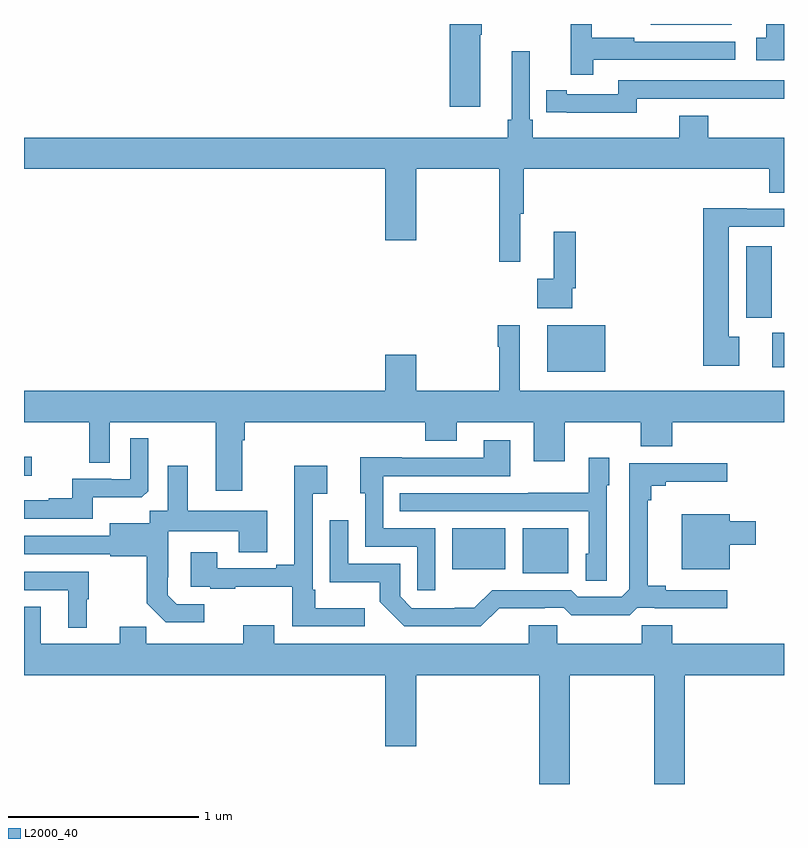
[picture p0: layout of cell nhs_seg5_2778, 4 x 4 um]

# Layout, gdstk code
import gdstk
lib = gdstk.Library(unit=1e-6, precision=1e-09)
def R(c, l, rs):  # rectangles x0, y0, x1, y1
    for r in rs: c.add(gdstk.rectangle(r[:2], r[2:], *l))
def P(c, l, *ps):  # polygons
    for p in ps: c.add(gdstk.Polygon(p, *l))
L2000_40 = (2000, 40)

nhs_seg5_2778 = lib.new_cell('nhs_seg5_2778')
R(nhs_seg5_2778, L2000_40, [(273.626,911.909,273.865,912.145), (273.254,911.93,273.532,912.145), (271,912.422,271.042,912.521), (273.755,912.968,274.06,913.213), (274.937,912.993,275,913.173), (274.802,913.254,274.936,913.63), (274.299,914.795,274.726,914.799)])
P(nhs_seg5_2778, L2000_40, [(273.4,914.743),(273.408,914.743),(273.408,914.799),(273.242,914.799),(273.242,914.364),(273.4,914.364)],
  [(273.995,914.61),(274.744,914.61),(274.744,914.706),(274.211,914.706),(274.211,914.726),(273.988,914.726),(273.988,914.799),(273.878,914.799),(273.878,914.532),(273.995,914.532)],
  [(275,914.799),(274.907,914.799),(274.907,914.727),(274.854,914.727),(274.854,914.607),(275,914.607)],
  [(273.611,913.8),(273.629,913.8),(273.629,914.036),(274.922,914.036),(274.922,913.912),(275,913.912),(275,914.2),(274.601,914.2),(274.601,914.317),(274.448,914.317),(274.448,914.2),(273.677,914.2),(273.677,914.296),(273.663,914.296),(273.663,914.656),(273.566,914.656),(273.566,914.296),(273.547,914.296),(273.547,914.2),(271,914.2),(271,914.036),(272.9,914.036),(272.9,913.662),(273.064,913.662),(273.064,914.036),(273.501,914.036),(273.501,913.548),(273.611,913.548)],
  [(274.224,914.406),(274.684,914.406),(274.684,914.405),(275,914.405),(275,914.502),(274.128,914.502),(274.128,914.43),(273.856,914.43),(273.856,914.45),(273.748,914.45),(273.748,914.334),(273.856,914.334),(273.856,914.333),(274.224,914.333)],
  [(274.765,913.154),(274.708,913.154),(274.708,913.731),(275,913.731),(275,913.827),(274.804,913.827),(274.804,913.829),(274.574,913.829),(274.574,913.001),(274.765,913.001)],
  [(273.885,913.408),(273.905,913.408),(273.905,913.705),(273.788,913.705),(273.788,913.457),(273.702,913.457),(273.702,913.304),(273.885,913.304)],
  [(272.149,912.608),(272.162,912.608),(272.162,912.704),(273.113,912.704),(273.113,912.605),(273.277,912.605),(273.277,912.704),(273.683,912.704),(273.683,912.498),(273.847,912.498),(273.847,912.704),(274.247,912.704),(274.247,912.576),(274.411,912.576),(274.411,912.704),(275,912.704),(275,912.868),(273.61,912.868),(273.61,913.213),(273.493,913.213),(273.493,913.1),(273.501,913.1),(273.501,912.868),(273.064,912.868),(273.064,913.057),(272.9,913.057),(272.9,912.868),(271,912.868),(271,912.704),(271.344,912.704),(271.344,912.49),(271.452,912.49),(271.452,912.704),(272.009,912.704),(272.009,912.342),(272.149,912.342)],
  [(271.363,912.308),(271.621,912.308),(271.653,912.339),(271.653,912.619),(271.56,912.619),(271.56,912.402),(271.46,912.402),(271.46,912.405),(271.253,912.405),(271.253,912.304),(271.129,912.304),(271.129,912.292),(271,912.292),(271,912.195),(271.363,912.195)],
  [(273.165,912.144),(272.892,912.144),(272.892,912.42),(273.559,912.42),(273.559,912.607),(273.419,912.607),(273.419,912.516),(272.989,912.516),(272.989,912.518),(272.771,912.518),(272.771,912.33),(272.796,912.33),(272.796,912.048),(273.069,912.048),(273.069,911.82),(273.165,911.82)],
  [(274.068,912.372),(274.081,912.372),(274.081,912.517),(273.972,912.517),(273.972,912.331),(273.655,912.331),(273.655,912.33),(272.977,912.33),(272.977,912.234),(273.972,912.234),(273.972,912.012),(273.956,912.012),(273.956,911.869),(274.068,911.869)],
  [(273.5,911.723),(273.74,911.723),(273.74,911.727),(273.84,911.727),(273.88,911.688),(274.187,911.688),(274.227,911.727),(274.321,911.727),(274.321,911.723),(274.702,911.723),(274.702,911.82),(274.378,911.82),(274.378,911.843),(274.283,911.843),(274.283,912.293),(274.301,912.293),(274.301,912.37),(274.378,912.37),(274.378,912.389),(274.702,912.389),(274.702,912.486),(274.185,912.486),(274.185,911.823),(274.146,911.784),(273.915,911.784),(273.879,911.82),(273.465,911.82),(273.371,911.726),(273.266,911.726),(273.266,911.724),(273.042,911.724),(272.979,911.787),(272.979,911.958),(272.706,911.958),(272.706,912.187),(272.61,912.187),(272.61,911.861),(272.872,911.861),(272.872,911.759),(273.002,911.628),(273.405,911.628)],
  [(272.794,911.725),(272.533,911.725),(272.533,911.821),(272.52,911.821),(272.52,912.326),(272.596,912.326),(272.596,912.475),(272.423,912.475),(272.423,911.953),(272.327,911.953),(272.327,911.934),(272.017,911.934),(272.017,912.019),(271.877,912.019),(271.877,911.838),(271.981,911.838),(271.981,911.826),(272.113,911.826),(272.113,911.837),(272.412,911.837),(272.412,911.628),(272.794,911.628)],
  [(271.948,911.745),(271.803,911.745),(271.756,911.792),(271.756,911.887),(271.758,911.887),(271.758,912.128),(272.129,912.128),(272.129,912.019),(272.281,912.019),(272.281,912.238),(271.861,912.238),(271.861,912.475),(271.757,912.475),(271.757,912.236),(271.662,912.236),(271.662,912.172),(271.451,912.172),(271.451,912.105),(271,912.105),(271,912.009),(271.455,912.009),(271.455,911.997),(271.647,911.997),(271.647,911.751),(271.747,911.651),(271.948,911.651)],
  [(274.714,912.059),(274.852,912.059),(274.852,912.181),(274.714,912.181),(274.714,912.22),(274.463,912.22),(274.463,911.93),(274.714,911.93)],
  [(271.33,911.772),(271.342,911.772),(271.342,911.916),(271,911.916),(271,911.82),(271.232,911.82),(271.232,911.621),(271.33,911.621)],
  [(273.873,911.372),(274.318,911.372),(274.318,910.799),(274.478,910.799),(274.478,911.372),(275,911.372),(275,911.536),(274.412,911.536),(274.412,911.634),(274.252,911.634),(274.252,911.536),(273.807,911.536),(273.807,911.634),(273.656,911.634),(273.656,911.536),(272.317,911.536),(272.317,911.635),(272.153,911.635),(272.153,911.536),(271.643,911.536),(271.643,911.627),(271.505,911.627),(271.505,911.536),(271.087,911.536),(271.087,911.731),(271,911.731),(271,911.372),(272.9,911.372),(272.9,910.998),(273.064,910.998),(273.064,911.372),(273.713,911.372),(273.713,910.799),(273.873,910.799)])

lib.write_gds('nhs_seg5_2778.gds')
